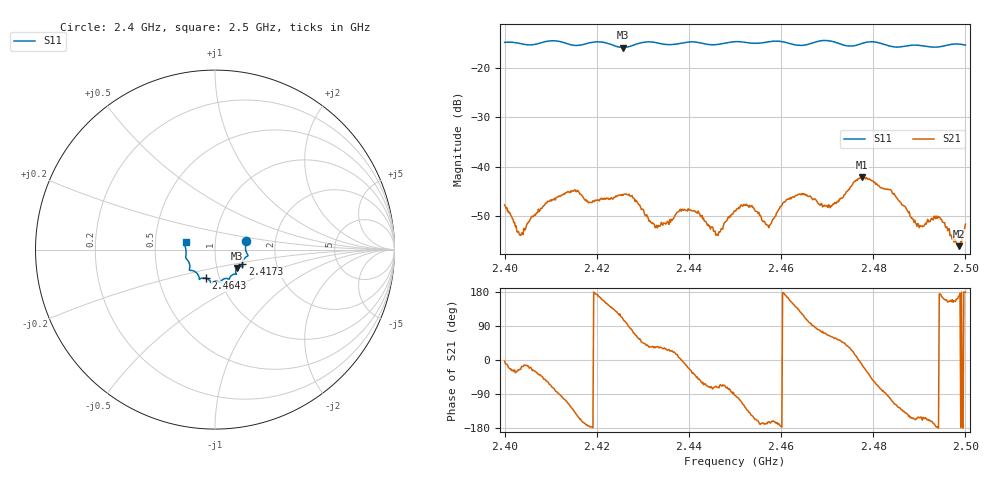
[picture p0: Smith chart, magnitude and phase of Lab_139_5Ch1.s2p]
# Hz S RI R 50
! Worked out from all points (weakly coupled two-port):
!   601 points, 2.4 GHz to 2.5 GHz, reference 50 ohm
!   highest |S21| = -42.12 dB at 2.4775 GHz (marker M1); lowest = -56.1 dB at 2.4987 GHz (marker M2)
!   lowest |S11| = -15.9 dB at 2.4257 GHz (marker M3), VSWR 1.38, Z = 62.4 - j13.1 ohm
!   |S11| at or under -10 dB: start of sweep to end of sweep
!   S12 and S22 are empty: the file has one direction only
!   S11 on the Smith chart (normalised r, x): 2.4 GHz: 1.41, +0.14; 2.4173 GHz: 1.34, -0.23; 2.4643 GHz: 0.86, -0.28; 2.5 GHz: 0.72, +0.06
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2.4e9  0.1734 0.0492  0.00409 -0.000228  0 0  0 0
2.4035e9  0.1722 0.0304  0.00183 -0.000832  0 0  0 0
2.4095e9  0.1831 -0.031  0.00223 -0.00382  0 0  0 0
2.416667e9  0.1525 -0.0749  -0.00486 -0.00176  0 0  0 0
2.417333e9  0.1519 -0.0823  -0.00454 -0.00105  0 0  0 0
2.425667e9  0.1225 -0.1024  -0.00162 0.00483  0 0  0 0
2.433333e9  0.1127 -0.1366  0.00209 0.00144  0 0  0 0
2.440333e9  0.0793 -0.164  0.00324 -0.00161  0 0  0 0
2.446333e9  0.0448 -0.1661  0.000619 -0.00191  0 0  0 0
2.45e9  0.0296 -0.1807  -0.000197 -0.00356  0 0  0 0
2.453667e9  0.0129 -0.1763  -0.00336 -0.00223  0 0  0 0
2.457333e9  -0.0157 -0.182  -0.0023 -0.0007  0 0  0 0
2.460833e9  -0.0256 -0.179  -0.00435 0.000616  0 0  0 0
2.464333e9  -0.05 -0.1602  -0.00295 0.00424  0 0  0 0
2.466667e9  -0.0761 -0.1596  -0.00015 0.0048  0 0  0 0
2.470667e9  -0.0867 -0.1649  0.00174 0.00341  0 0  0 0
2.4775e9  -0.1315 -0.1162  0.0077 -0.00145  0 0  0 0
2.483333e9  -0.1404 -0.0895  -0.000648 -0.00581  0 0  0 0
2.489667e9  -0.1628 -0.0434  -0.00232 -0.0013  0 0  0 0
2.494167e9  -0.162 0.00076  -0.00305 -2.41e-05  0 0  0 0
2.498667e9  -0.1697 0.0345  -0.00154 0.0003  0 0  0 0
2.5e9  -0.1639 0.0415  -0.00261 5.06e-05  0 0  0 0
